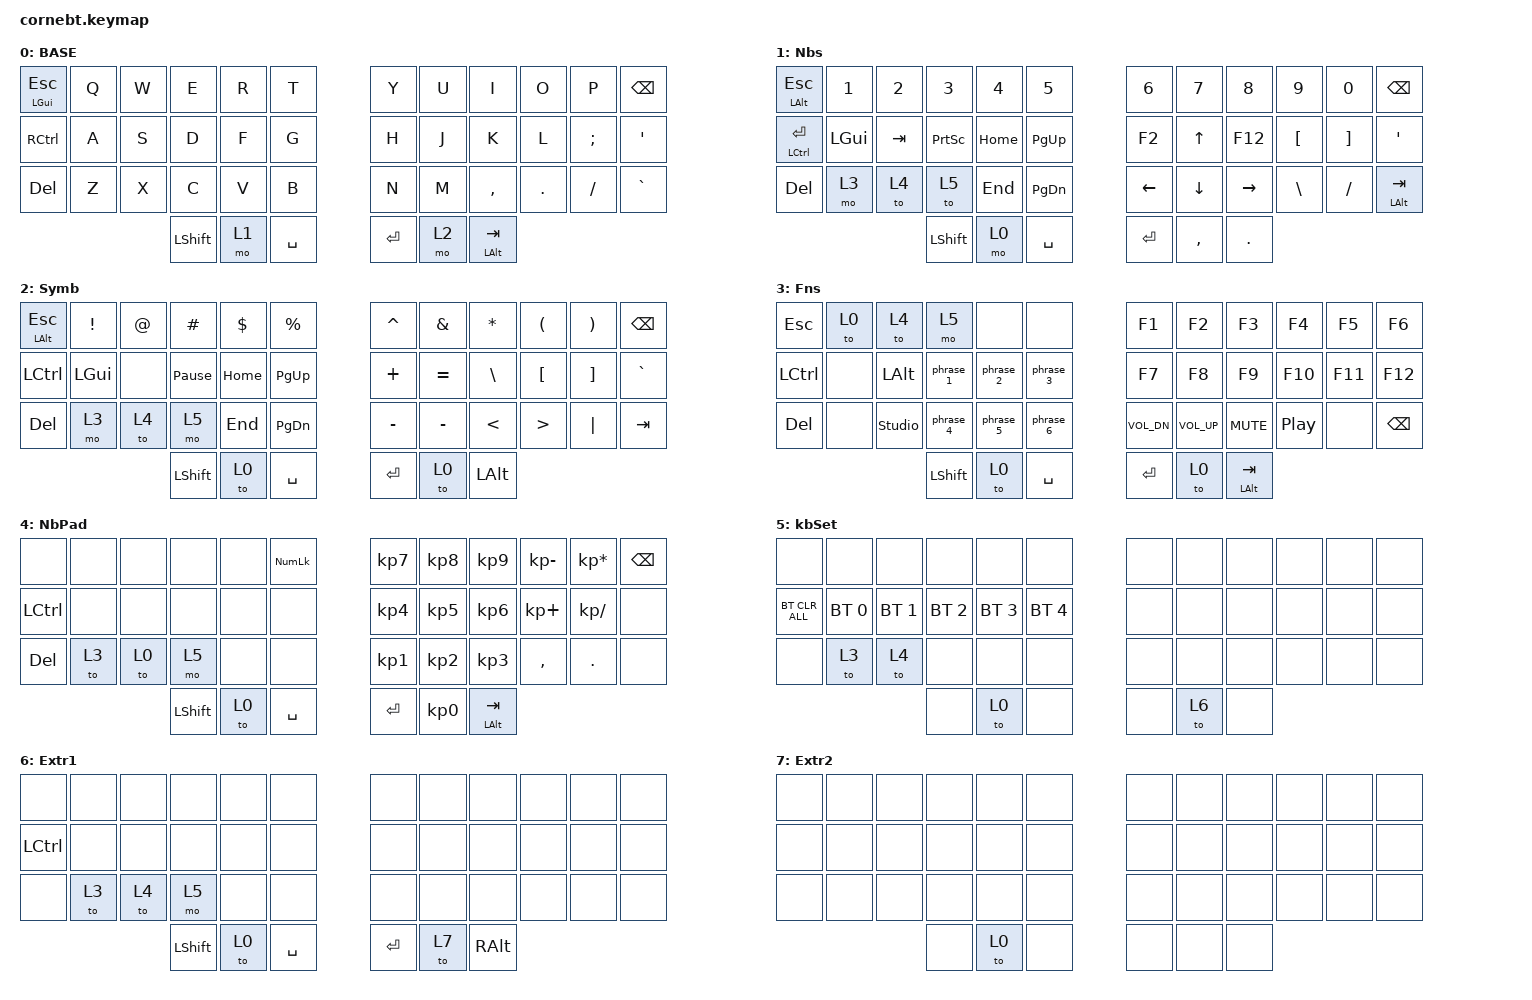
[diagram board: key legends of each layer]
#include <behaviors.dtsi>
#include <dt-bindings/zmk/keys.h>
#include <dt-bindings/zmk/bt.h>

/ {

macros {
        phrase_1: phrase_1 {
            compatible = "zmk,behavior-macro";
            #binding-cells = <0>;
            bindings = <&macro_tap &kp COLON &kp P &kp S &kp N1>;
        };

        phrase_2: phrase_2 {
            compatible = "zmk,behavior-macro";
            #binding-cells = <0>;
            bindings = <&macro_tap &kp COLON &kp P &kp S &kp N2>;
        };

        phrase_3: phrase_3 {
            compatible = "zmk,behavior-macro";
            #binding-cells = <0>;
            bindings = <&macro_tap &kp COLON &kp P &kp S &kp N3>;
        };

        phrase_4: phrase_4 {
            compatible = "zmk,behavior-macro";
            #binding-cells = <0>;
            bindings = <&macro_tap &kp COLON &kp P &kp S &kp N4>;
        };

        phrase_5: phrase_5 {
            compatible = "zmk,behavior-macro";
            #binding-cells = <0>;
            bindings = <&macro_tap &kp COLON &kp P &kp S &kp N5>;
        };

        phrase_6: phrase_6 {
            compatible = "zmk,behavior-macro";
            #binding-cells = <0>;
            bindings = <&macro_tap &kp COLON &kp P &kp S &kp N6>;
        };
    };

        keymap {
                compatible = "zmk,keymap";

                default_layer {
                display-name = "BASE";
// -----------------------------------------------------------------------------------------
// | GUI/ESC |  Q  |  W  |  E  |  R  |  T  |   |  Y  |  U  |  I  |  O  |  P  | BSPC |
// |  RCTL   |  A  |  S  |  D  |  F  |  G  |   |  H  |  J  |  K  |  L  |  ;  |  '   |
// |   DEL   |  Z  |  X  |  C  |  V  |  B  |   |  N  |  M  |  ,  |  .  |  /  |  `   |
//                       | SHFT| LWR | SPC |   | ENT | RSE | ALT/TAB |
                        bindings = <
   &mt LGUI ESC &kp Q &kp W &kp E &kp R &kp T   &kp Y &kp U  &kp I     &kp O   &kp P    &kp BSPC
   &kp RCTRL &kp A &kp S &kp D &kp F &kp G   &kp H &kp J  &kp K     &kp L   &kp SEMI &kp SQT
   &kp DEL &kp Z &kp X &kp C &kp V &kp B   &kp N &kp M  &kp COMMA &kp DOT &kp FSLH &kp GRAVE
                  &kp LSHFT &mo 1 &kp SPACE   &kp RET &mo 2 &mt LALT TAB
                        >;
                };

                lower_layer {
                display-name = "Nbs";
// -----------------------------------------------------------------------------------------
// | ALT/ESC |  1  |  2  |  3  |  4  |  5  |   |  6  |  7  |  8  |  9  |  0  | BSPC |
// | CTL/ENT | GUI | TAB |PSCR | HOME| PGUP|   |  F2 |  UP | F12 |  [  |  ]  |  '   |
// |   DEL   | LY3 | LY4 | LY5 | END | PGDN|   | LEFT| DOWN| RGHT|  \  |  /  | ALT/TAB |
//                       | SHFT| --- | SPC |   | ENT |  ,  |  .  |
                        bindings = <
   &mt LALT ESC &kp N1   &kp N2  &kp N3   &kp N4   &kp N5      &kp N6   &kp N7   &kp N8    &kp N9   &kp N0   &kp BSPC
   &mt LCTRL RET &kp LGUI &kp TAB &kp PSCRN &kp HOME &kp PG_UP   &kp F2   &kp UP   &kp F12   &kp LBKT &kp RBKT &kp SQT
   &kp DEL &mo 3 &to 4 &to 5 &kp END &kp PG_DN   &kp LEFT &kp DOWN &kp RIGHT &kp BSLH &kp FSLH &mt LALT TAB
                          &kp LSHFT &mo 0 &kp SPACE   &kp RET &kp COMMA &kp DOT
                        >;
                };

                raise_layer {
                display-name = "Symb";
// -----------------------------------------------------------------------------------------
// | ALT/ESC |  !  |  @  |  #  |  $  |  %  |   |  ^  |  &  |  *  |  (  |  )  | BSPC |
// |  LCTL   | GUI |     | PAUS| HOME| PGUP|   |  +  |  =  |  \  |  [  |  ]  |  `   |
// |   DEL   | LY3 | LY4 | LY5 | END | PGDN|   |  -  |  -  |  <  |  >  |  |  |  TAB |
//                       | SHFT| LY0 | SPC |   | ENT | LY0 | ALT |
                        bindings = <
   &mt LALT ESC &kp EXCL &kp AT   &kp HASH &kp DLLR &kp PRCNT   &kp CARET &kp AMPS &kp ASTRK &kp LPAR &kp RPAR &kp BSPC
   &kp LCTRL &kp LGUI &none &kp PAUSE_BREAK &kp HOME &kp PG_UP   &kp PLUS &kp EQUAL &kp BSLH &kp LBKT &kp RBKT &kp GRAVE
   &kp DEL &mo 3 &to 4 &mo 5 &kp END &kp PG_DN   &kp MINUS &kp MINUS &kp LT &kp GT &kp PIPE &kp TAB
                          &kp LSHFT &to 0 &kp SPACE   &kp RET &to 0 &kp LALT
                        >;
                };

                fns_layer {
                display-name = "Fns";
// -----------------------------------------------------------------------------------------
// |  ESC  |  LY0      |  LY4  |  LY5  | MAC5  |     |   |  F1  |  F2  |  F3  |  F4  |  F5  |  F6  |
// | LCTL  |           | LALT  | MACR0 | MACR1 |MACR2|   |  F7  |  F8  |  F9  | F10  | F11  | F12  |
// |  DEL  |           | StUlck| MACR3 | MACR4 |MACR5|   | VOLD | VOLU | MUTE | PLAY |      | BSPC |
//                             | SHFT  |  LY0  | SPC |   | ENT  |  LY0 | ALT/TAB |
                        bindings = <
   &kp ESC &to 0 &to 4 &mo 5 &none &none   &kp F1 &kp F2 &kp F3 &kp F4 &kp F5 &kp F6
   &kp LCTRL &none &kp LALT &phrase_1 &phrase_2 &phrase_3   &kp F7 &kp F8 &kp F9 &kp F10 &kp F11 &kp F12
   &kp DEL &none &studio_unlock &phrase_4 &phrase_5 &phrase_6   &kp C_VOL_DN &kp C_VOL_UP &kp C_MUTE &kp C_PP &none &kp BSPC
                          &kp LSHFT &to 0 &kp SPACE   &kp RET &to 0 &mt LALT TAB
                        >;
                };

                numpad_layer {
                display-name = "NbPad";
// -----------------------------------------------------------------------------------------
// |       |     |     |     |     | NLCK|   | KP 7| KP 8| KP 9| KP -| KP *| BSPC |
// | LCTL  |     |     |     |     |     |   | KP 4| KP 5| KP 6| KP +| KP /|      |
// |  DEL  | LY3 | LY0 | LY5 |     |     |   | KP 1| KP 2| KP 3|  ,  |  .  |      |
//                     | SHFT| LY0 | SPC |   | ENT | KP 0| ALT/TAB |
                        bindings = <
   &none &none &none &none &none &kp KP_NUM   &kp KP_N7 &kp KP_N8 &kp KP_N9 &kp KP_MINUS &kp KP_MULTIPLY &kp BSPC
   &kp LCTRL &none &none &none &none &none   &kp KP_N4 &kp KP_N5 &kp KP_N6 &kp KP_PLUS &kp KP_DIVIDE &none
   &kp DEL &to 3 &to 0 &mo 5 &none &none   &kp KP_N1 &kp KP_N2 &kp KP_N3 &kp COMMA &kp DOT &none
                          &kp LSHFT &to 0 &kp SPACE   &kp RET &kp KP_N0 &mt LALT TAB
                        >;
                };

                setting_layer {
                display-name = "kbSet";
// -----------------------------------------------------------------------------------------
// |       |     |     |     |     |     |    |   |     |     |     |     |     |      |
// | BTCLR | BT1 | BT2 | BT3 | BT4 | BT5 |    |   |     |     |     |     |     |      |
// |       | LY3 | LY4 |     |     |     |    |   |     |     |     |     |     |      |
//                     |     |  LY0|     |    |   | LY6 |     |
                        bindings = <
   &none  &none  &none  &none  &none  &none   &none &none &none &none &none &none
  &bt BT_CLR_ALL &bt BT_SEL 0 &bt BT_SEL 1 &bt BT_SEL 2 &bt BT_SEL 3 &bt BT_SEL 4   &none &none &none &none &none &none
   &none  &to 3 &to 4 &none &none &none   &none &none &none &none &none &none
                          &none &to 0 &none   &none &to 6 &none
                        >;
                };

                extra_1 {
                display-name = "Extr1";
// -----------------------------------------------------------------------------------------
// |       |     |     |     |     |     |   |     |     |     |     |     |      |
// | LCTL  |     |     |     |     |     |   |     |     |     |     |     |      |
// |       | LY3 | LY4 | LY5 |     |     |   |     |     |     |     |     |      |
//                     | SHFT| LY0 | SPC |   | ENT | LY7 | RALT|
                        bindings = <
   &none &none &none &none &none &none   &none &none &none &none &none &none
   &kp LCTRL &none &none &none &none &none   &none &none &none &none &none &none
   &none &to 3 &to 4 &mo 5 &none &none   &none &none &none &none &none &none
                          &kp LSHFT &to 0 &kp SPACE   &kp RET &to 7 &kp RALT
                        >;
                };

                extra_2 {
                display-name = "Extr2";
// -----------------------------------------------------------------------------------------
// |       |     |     |     |     |     |   |     |     |     |     |     |      |
// |       |     |     |     |     |     |   |     |     |     |     |     |      |
// |       |     |     |     |     |     |   |     |     |     |     |     |      |
//                     |     | LY0 |     |   |     |     |     |
                        bindings = <
   &none &none &none &none &none &none   &none &none &none &none &none &none
   &none &none &none &none &none &none   &none &none &none &none &none &none
   &none &none &none &none &none &none   &none &none &none &none &none &none
                          &none &to 0 &none   &none &none &none
                        >;
                };
        };
};
